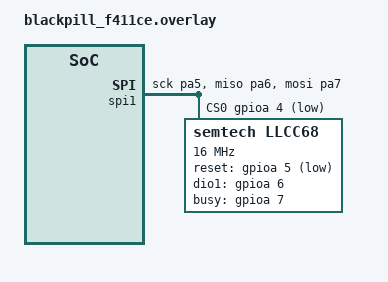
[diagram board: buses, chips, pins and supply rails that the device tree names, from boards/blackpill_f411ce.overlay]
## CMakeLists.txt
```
# SPDX-License-Identifier: Apache-2.0

cmake_minimum_required(VERSION 3.20.0)

find_package(Zephyr REQUIRED HINTS $ENV{ZEPHYR_BASE})
project(hello_world)
add_subdirectory(drivers)
zephyr_include_directories(drivers)


target_sources(app PRIVATE src/main.c drivers/llcc68_spi.c
drivers/llcc68.c)
```

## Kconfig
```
source "drivers/Kconfig"
```

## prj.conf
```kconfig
# nothing here
CONFIG_LLCC68=y
CONFIG_SPI=y
```

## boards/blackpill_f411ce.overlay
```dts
/* Copyright (c) 2021 STMicroelectronics
SPDX-License-Identifier: Apache-2.0 */

/ {
	
	
};



&spi1 {
	pinctrl-0 = <&spi1_sck_pa5 &spi1_miso_pa6 &spi1_mosi_pa7>;
	pinctrl-names = "default";
	status = "okay";
    cs-gpios = <&gpioa 4 GPIO_ACTIVE_LOW>;

    llcc68: llcc68@0 {
        compatible = "semtech,llcc68";
        reg = <0>;
        spi-max-frequency = <16000000>;
        reset-gpios = <&gpioa 5 GPIO_ACTIVE_LOW>;
        dio1-gpios = <&gpioa 6 GPIO_ACTIVE_HIGH>;
        busy-gpios = <&gpioa 7 GPIO_ACTIVE_HIGH>;
        status = "okay";
    };
};
```

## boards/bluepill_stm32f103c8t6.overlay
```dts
/*
 * Copyright (c) 2024 Eve Redero
 * SPDX-License-Identifier: Apache-2.0
 */

&spi1 {
	pinctrl-0 = <&spi1_sck_master_pa5 &spi1_miso_master_pa6 &spi1_mosi_master_pa7>;
	pinctrl-names = "default";
	status = "okay";
    cs-gpios = <&gpio0 17 GPIO_ACTIVE_LOW>;

    llcc68: llcc68@0 {
        compatible = "semtech,llcc68";
        reg = <0>;
        spi-max-frequency = <16000000>;
        reset-gpios = <&gpio0 15 GPIO_ACTIVE_LOW>;
        dio1-gpios = <&gpio0 16 GPIO_ACTIVE_HIGH>;
        busy-gpios = <&gpio0 14 GPIO_ACTIVE_HIGH>;
        status = "okay";
    };
};
```

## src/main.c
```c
#include <zephyr/kernel.h>
#include "../drivers/llcc68.h"

void main(void) {
    const struct device *llcc68_dev;
    struct llcc68_modem_config config;

    /* Get LLCC68 device */
    llcc68_dev = llcc68_get_device();

    /* Configure LoRa parameters */
    config.frequency = 868000000;
    config.bandwidth = LLCC68_LORA_BW_125_KHZ;
    config.datarate = LLCC68_LORA_SF_7;
    config.coding_rate = LLCC68_LORA_CR_4_5;
    config.preamble_len = 8;
    config.crc_enable = true;

    llcc68_set_lora_config(llcc68_dev, &config);
}
```
